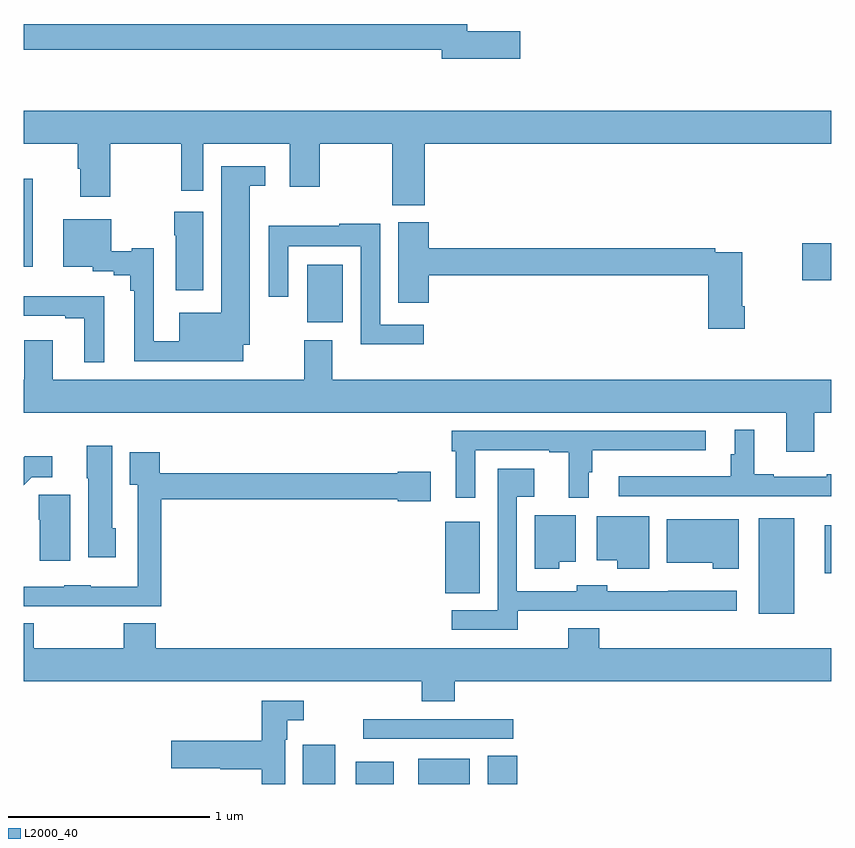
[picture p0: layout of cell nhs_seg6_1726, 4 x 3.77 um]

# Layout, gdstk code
import gdstk
lib = gdstk.Library(unit=1e-6, precision=1e-09)
def R(c, l, rs):  # rectangles x0, y0, x1, y1
    for r in rs: c.add(gdstk.rectangle(r[:2], r[2:], *l))
def P(c, l, *ps):  # polygons
    for p in ps: c.add(gdstk.Polygon(p, *l))
L2000_40 = (2000, 40)

nhs_seg6_1726 = lib.new_cell('nhs_seg6_1726')
R(nhs_seg6_1726, L2000_40, [(216.383,941.5,216.544,941.695), (216.644,941.5,216.832,941.611), (216.953,941.5,217.21,941.626), (217.298,941.5,217.445,941.639), (216.681,941.724,217.426,941.82), (218.642,942.344,218.818,942.817), (217.088,942.445,217.258,942.799), (218.969,942.545,219,942.781), (216.404,943.787,216.58,944.074), (218.856,943.997,219,944.18), (215,944.063,215.044,944.5)])
P(nhs_seg6_1726, L2000_40, [(217.459,945.23),(217.198,945.23),(217.198,945.266),(215,945.266),(215,945.138),(217.07,945.138),(217.07,945.095),(217.459,945.095)],
  [(216.986,944.672),(219,944.672),(219,944.836),(215,944.836),(215,944.672),(215.267,944.672),(215.267,944.549),(215.279,944.549),(215.279,944.409),(215.427,944.409),(215.427,944.672),(215.779,944.672),(215.779,944.439),(215.89,944.439),(215.89,944.672),(216.317,944.672),(216.317,944.46),(216.465,944.46),(216.465,944.672),(216.826,944.672),(216.826,944.368),(216.986,944.368)],
  [(216.088,943.676),(216.118,943.676),(216.118,944.465),(216.196,944.465),(216.196,944.562),(215.978,944.562),(215.978,943.834),(215.771,943.834),(215.771,943.695),(215.643,943.695),(215.643,944.156),(215.535,944.156),(215.535,944.141),(215.434,944.141),(215.434,944.299),(215.195,944.299),(215.195,944.063),(215.34,944.063),(215.34,944.04),(215.445,944.04),(215.445,944.02),(215.527,944.02),(215.527,943.943),(215.546,943.943),(215.546,943.596),(215.875,943.596),(215.875,943.595),(216.088,943.595)],
  [(215.89,944.335),(215.746,944.335),(215.746,944.219),(215.753,944.219),(215.753,943.947),(215.89,943.947)],
  [(218.573,943.867),(218.56,943.867),(218.56,944.136),(218.426,944.136),(218.426,944.156),(217.007,944.156),(217.007,944.283),(216.854,944.283),(216.854,943.884),(217.007,943.884),(217.007,944.02),(218.39,944.02),(218.39,943.755),(218.573,943.755)],
  [(216.982,943.776),(216.765,943.776),(216.765,944.276),(216.562,944.276),(216.562,944.266),(216.213,944.266),(216.213,943.914),(216.309,943.914),(216.309,944.165),(216.669,944.165),(216.669,943.679),(216.982,943.679)],
  [(215.398,943.918),(215,943.918),(215,943.821),(215.204,943.821),(215.204,943.809),(215.3,943.809),(215.3,943.589),(215.398,943.589)],
  [(218.917,943.34),(219,943.34),(219,943.504),(216.529,943.504),(216.529,943.699),(216.389,943.699),(216.389,943.504),(215.143,943.504),(215.143,943.699),(215.003,943.699),(215.003,943.504),(215,943.504),(215,943.34),(218.777,943.34),(218.777,943.146),(218.917,943.146)],
  [(219,943.036),(218.978,943.036),(218.978,943.023),(218.716,943.023),(218.716,943.036),(218.62,943.036),(218.62,943.255),(218.522,943.255),(218.522,943.134),(218.503,943.134),(218.503,943.024),(217.947,943.024),(217.947,942.927),(218.914,942.927),(218.914,942.926),(219,942.926)],
  [(217.236,943.155),(217.604,943.155),(217.604,943.143),(217.7,943.143),(217.7,942.918),(217.798,942.918),(217.798,943.044),(217.817,943.044),(217.817,943.154),(218.38,943.154),(218.38,943.251),(217.12,943.251),(217.12,943.148),(217.14,943.148),(217.14,942.918),(217.236,942.918)],
  [(215.455,942.768),(215.437,942.768),(215.437,943.177),(215.312,943.177),(215.312,943.014),(215.318,943.014),(215.318,942.624),(215.455,942.624)],
  [(215.431,942.381),(215.681,942.381),(215.681,942.91),(216.852,942.91),(216.852,942.902),(217.015,942.902),(217.015,943.047),(216.852,943.047),(216.852,943.039),(215.674,943.039),(215.674,943.144),(215.525,943.144),(215.525,942.983),(215.565,942.983),(215.565,942.478),(215.331,942.478),(215.331,942.484),(215.199,942.484),(215.199,942.477),(215,942.477),(215,942.381),(215.199,942.381),(215.199,942.38),(215.431,942.38)],
  [(215.04,943.02),(215.14,943.02),(215.14,943.123),(215.005,943.123),(215,943.118),(215,942.98)],
  [(217.446,942.359),(218.533,942.359),(218.533,942.457),(218.194,942.457),(218.194,942.456),(217.89,942.456),(217.89,942.484),(217.74,942.484),(217.74,942.456),(217.443,942.456),(217.443,942.923),(217.528,942.923),(217.528,943.063),(217.347,943.063),(217.347,942.36),(217.119,942.36),(217.119,942.264),(217.446,942.264)],
  [(215.23,942.933),(215.074,942.933),(215.074,942.81),(215.078,942.81),(215.078,942.606),(215.23,942.606)],
  [(217.654,942.602),(217.735,942.602),(217.735,942.832),(217.532,942.832),(217.532,942.566),(217.654,942.566)],
  [(218.098,942.826),(217.838,942.826),(217.838,942.608),(217.941,942.608),(217.941,942.566),(218.098,942.566)],
  [(218.542,942.811),(218.186,942.811),(218.186,942.596),(218.413,942.596),(218.413,942.566),(218.542,942.566)],
  [(216.971,941.909),(217.136,941.909),(217.136,942.008),(219,942.008),(219,942.172),(217.85,942.172),(217.85,942.271),(217.697,942.271),(217.697,942.172),(215.654,942.172),(215.654,942.296),(215.494,942.296),(215.494,942.172),(215.049,942.172),(215.049,942.296),(215,942.296),(215,942.008),(216.971,942.008)],
  [(216.294,941.72),(216.306,941.72),(216.306,941.817),(216.388,941.817),(216.388,941.913),(216.178,941.913),(216.178,941.715),(215.73,941.715),(215.73,941.578),(215.972,941.578),(215.972,941.573),(216.178,941.573),(216.178,941.5),(216.294,941.5)])

lib.write_gds('nhs_seg6_1726.gds')
